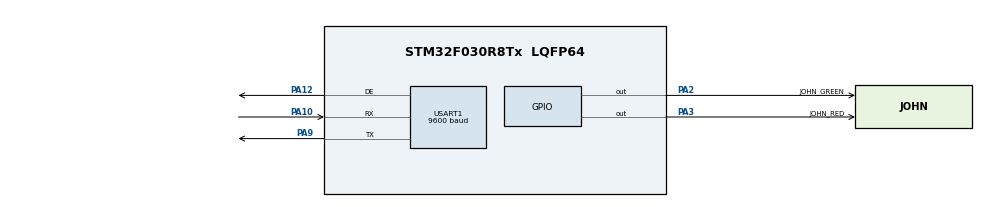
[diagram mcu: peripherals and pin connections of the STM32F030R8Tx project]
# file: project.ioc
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Dma.Request0=USART1_RX
Dma.USART1_RX.0.Direction=DMA_PERIPH_TO_MEMORY
Dma.USART1_RX.0.Instance=DMA1_Channel3
Dma.USART1_RX.0.MemDataAlignment=DMA_MDATAALIGN_BYTE
Dma.USART1_RX.0.MemInc=DMA_MINC_ENABLE
Dma.USART1_RX.0.Mode=DMA_NORMAL
Dma.USART1_RX.0.PeriphDataAlignment=DMA_PDATAALIGN_BYTE
Dma.USART1_RX.0.PeriphInc=DMA_PINC_DISABLE
Dma.USART1_RX.0.Priority=DMA_PRIORITY_LOW
Mcu.Family=STM32F0
Mcu.Name=STM32F030R8Tx
Mcu.Package=LQFP64
NVIC.DMA1_Channel2_3_IRQn=true\:0\:0\:false\:false\:true\:false
NVIC.USART1_IRQn=true\:0\:0\:false\:false\:true\:true
PA10.GPIO_PuPd=GPIO_PULLUP
PA10.Mode=Asynchronous
PA10.Signal=USART1_RX
PA12.Mode=Hardware Flow Control (RS485)
PA12.Signal=USART1_DE
PA13.Mode=Serial_Wire
PA13.Signal=SYS_SWDIO
PA14.Mode=Serial_Wire
PA14.Signal=SYS_SWCLK
PA2.GPIO_Label=JOHN_GREEN
PA2.Signal=GPIO_Output
PA3.GPIO_Label=JOHN_RED
PA3.Signal=GPIO_Output
PA9.GPIO_ModeDefaultPP=GPIO_MODE_AF_PP
PA9.GPIO_PuPd=GPIO_NOPULL
PA9.Mode=Asynchronous
PA9.Signal=USART1_TX
ProjectManager.HeapSize=0x200
ProjectManager.StackSize=0x400
ProjectManager.TargetToolchain=Makefile
USART1.BaudRate=9600
USART1.Parity=PARITY_EVEN
USART1.UART_DEAssertionTime=5
USART1.UART_DEDeassertionTime=5
USART1.VirtualMode-Asynchronous=VM_ASYNC
USART1.VirtualMode-Hardware\ Flow\ Control\ (RS485)=VM_ASYNC
USART1.WordLength=WORDLENGTH_9B
VP_CRC_VS_CRC.Mode=CRC_Activate
VP_RTC_VS_RTC_Activate.Mode=RTC_Enabled
board=custom

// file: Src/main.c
/* USER CODE BEGIN Header */
/**
  ******************************************************************************
  * @file           : main.c
  * @brief          : Main program body
  ******************************************************************************
  ** This notice applies to any and all portions of this file
  * that are not between comment pairs USER CODE BEGIN and
  * USER CODE END. Other portions of this file, whether
  * inserted by the user or by software development tools
  * are owned by their respective copyright owners.
  *
  * COPYRIGHT(c) 2019 STMicroelectronics
  *
  * Redistribution and use in source and binary forms, with or without modification,
  * are permitted provided that the following conditions are met:
  *   1. Redistributions of source code must retain the above copyright notice,
  *      this list of conditions and the following disclaimer.
  *   2. Redistributions in binary form must reproduce the above copyright notice,
  *      this list of conditions and the following disclaimer in the documentation
  *      and/or other materials provided with the distribution.
  *   3. Neither the name of STMicroelectronics nor the names of its contributors
  *      may be used to endorse or promote products derived from this software
  *      without specific prior written permission.
  *
  * THIS SOFTWARE IS PROVIDED BY THE COPYRIGHT HOLDERS AND CONTRIBUTORS "AS IS"
  * AND ANY EXPRESS OR IMPLIED WARRANTIES, INCLUDING, BUT NOT LIMITED TO, THE
  * IMPLIED WARRANTIES OF MERCHANTABILITY AND FITNESS FOR A PARTICULAR PURPOSE ARE
  * DISCLAIMED. IN NO EVENT SHALL THE COPYRIGHT HOLDER OR CONTRIBUTORS BE LIABLE
  * FOR ANY DIRECT, INDIRECT, INCIDENTAL, SPECIAL, EXEMPLARY, OR CONSEQUENTIAL
  * DAMAGES (INCLUDING, BUT NOT LIMITED TO, PROCUREMENT OF SUBSTITUTE GOODS OR
  * SERVICES; LOSS OF USE, DATA, OR PROFITS; OR BUSINESS INTERRUPTION) HOWEVER
  * CAUSED AND ON ANY THEORY OF LIABILITY, WHETHER IN CONTRACT, STRICT LIABILITY,
  * OR TORT (INCLUDING NEGLIGENCE OR OTHERWISE) ARISING IN ANY WAY OUT OF THE USE
  * OF THIS SOFTWARE, EVEN IF ADVISED OF THE POSSIBILITY OF SUCH DAMAGE.
  *
  ******************************************************************************
  */
/* USER CODE END Header */

#include "main.h"

/* USER CODE BEGIN Includes */
#include "printf.h"
#include <stdlib.h>

/* USER CODE END Includes */

CRC_HandleTypeDef hcrc;

RTC_HandleTypeDef hrtc;

UART_HandleTypeDef huart1;
DMA_HandleTypeDef hdma_usart1_rx;

/* USER CODE BEGIN PV */
uint8_t dma_rx_buffer[dma_rx_buffer_SIZE];
/* USER CODE END PV */

void SystemClock_Config(void);
static void MX_GPIO_Init(void);
static void MX_DMA_Init(void);
static void MX_CRC_Init(void);
static void MX_RTC_Init(void);
static void MX_USART1_UART_Init(void);

int main(void)
{

  /* MCU Configuration--------------------------------------------------------*/

  /* Reset of all peripherals, Initializes the Flash interface and the Systick. */
  HAL_Init();

  /* Configure the system clock */
  SystemClock_Config();

  /* Initialize all configured peripherals */
  MX_GPIO_Init();
  MX_DMA_Init();
  MX_CRC_Init();
  MX_RTC_Init();
  MX_USART1_UART_Init();
  /* USER CODE BEGIN 2 */
  HAL_Delay(500);
  //int status;
  HAL_GPIO_WritePin(GPIOA, JOHN_RED_Pin, 1);
  HAL_GPIO_WritePin(GPIOA, JOHN_GREEN_Pin, 1);
  //printf("RESET");
  // __HAL_UART_FLUSH_DRREGISTER(&huart1);
  __HAL_UART_ENABLE_IT(&huart1, UART_IT_RXNE);

  // These functions trigger continious calls to USART1_IRQHandler. Unsure why?
  // __HAL_UART_ENABLE_IT(&huart1, UART_IT_IDLE);
  // LL_USART_EnableIT_IDLE(huart1.Instance);

  HAL_UART_Receive_DMA(&huart1, dma_rx_buffer, SIZE(dma_rx_buffer));
  //HAL_Delay(1000);

  char szNumbers[] = "0x10\n0x1000 0x100";
  char * pEnd;
  long int li1, li2, li3, li4;
  li1 = strtol (szNumbers,&pEnd,16);
  pEnd++;
  li2 = strtol (pEnd,&pEnd,16);
  printf ("The decimal equivalents are: %ld, %ld.\n", li1, li2);

  printf ("ID: 0x%08X%08X%08X\n", HAL_GetUIDw0(), HAL_GetUIDw1(), HAL_GetUIDw2());

  /* USER CODE END 2 */

  /* Infinite loop */
  /* USER CODE BEGIN WHILE */
  while (1)
  {

	//HAL_UART_Receive(&huart1, dma_rx_buffer, 1, 1);
	// HAL_UART_DMAPause(&huart1);
	// //printf("RESET");
	// printf("Loop: ");
	// for( int i=0;i<5;i++) printf("%c", dma_rx_buffer[i]);
	// printf("\n");
	// HAL_UART_DMAResume(&huart1);
	HAL_Delay(500);
  HAL_GPIO_WritePin(GPIOA, JOHN_GREEN_Pin, 1);
  HAL_GPIO_WritePin(GPIOA, JOHN_RED_Pin, 1);

    /* USER CODE END WHILE */

  }
}

void SystemClock_Config(void)
{
  RCC_OscInitTypeDef RCC_OscInitStruct = {0};
  RCC_ClkInitTypeDef RCC_ClkInitStruct = {0};
  RCC_PeriphCLKInitTypeDef PeriphClkInit = {0};

  /**Initializes the CPU, AHB and APB busses clocks
  */
  RCC_OscInitStruct.OscillatorType = RCC_OSCILLATORTYPE_HSI|RCC_OSCILLATORTYPE_LSI;
  RCC_OscInitStruct.HSIState = RCC_HSI_ON;
  RCC_OscInitStruct.HSICalibrationValue = RCC_HSICALIBRATION_DEFAULT;
  RCC_OscInitStruct.LSIState = RCC_LSI_ON;
  RCC_OscInitStruct.PLL.PLLState = RCC_PLL_NONE;
  if (HAL_RCC_OscConfig(&RCC_OscInitStruct) != HAL_OK)
  {
    Error_Handler();
  }
  /**Initializes the CPU, AHB and APB busses clocks
  */
  RCC_ClkInitStruct.ClockType = RCC_CLOCKTYPE_HCLK|RCC_CLOCKTYPE_SYSCLK
                              |RCC_CLOCKTYPE_PCLK1;
  RCC_ClkInitStruct.SYSCLKSource = RCC_SYSCLKSOURCE_HSI;
  RCC_ClkInitStruct.AHBCLKDivider = RCC_SYSCLK_DIV1;
  RCC_ClkInitStruct.APB1CLKDivider = RCC_HCLK_DIV1;

  if (HAL_RCC_ClockConfig(&RCC_ClkInitStruct, FLASH_LATENCY_0) != HAL_OK)
  {
    Error_Handler();
  }
  PeriphClkInit.PeriphClockSelection = RCC_PERIPHCLK_USART1|RCC_PERIPHCLK_RTC;
  PeriphClkInit.Usart1ClockSelection = RCC_USART1CLKSOURCE_PCLK1;
  PeriphClkInit.RTCClockSelection = RCC_RTCCLKSOURCE_LSI;
  if (HAL_RCCEx_PeriphCLKConfig(&PeriphClkInit) != HAL_OK)
  {
    Error_Handler();
  }
}

static void MX_CRC_Init(void)
{

  hcrc.Instance = CRC;
  hcrc.Init.DefaultPolynomialUse = DEFAULT_POLYNOMIAL_ENABLE;
  hcrc.Init.DefaultInitValueUse = DEFAULT_INIT_VALUE_ENABLE;
  hcrc.Init.InputDataInversionMode = CRC_INPUTDATA_INVERSION_NONE;
  hcrc.Init.OutputDataInversionMode = CRC_OUTPUTDATA_INVERSION_DISABLE;
  hcrc.InputDataFormat = CRC_INPUTDATA_FORMAT_BYTES;
  if (HAL_CRC_Init(&hcrc) != HAL_OK)
  {
    Error_Handler();
  }
  if (HAL_CRCEx_Init(&hcrc) != HAL_OK)
  {
    Error_Handler();
  }

}

static void MX_RTC_Init(void)
{

  /**Initialize RTC Only
  */
  hrtc.Instance = RTC;
  hrtc.Init.HourFormat = RTC_HOURFORMAT_24;
  hrtc.Init.AsynchPrediv = 127;
  hrtc.Init.SynchPrediv = 255;
  hrtc.Init.OutPut = RTC_OUTPUT_DISABLE;
  hrtc.Init.OutPutPolarity = RTC_OUTPUT_POLARITY_HIGH;
  hrtc.Init.OutPutType = RTC_OUTPUT_TYPE_OPENDRAIN;
  if (HAL_RTC_Init(&hrtc) != HAL_OK)
  {
    Error_Handler();
  }

}

static void MX_USART1_UART_Init(void)
{

  huart1.Instance = USART1;
  huart1.Init.BaudRate = 9600;
  huart1.Init.WordLength = UART_WORDLENGTH_9B;
  huart1.Init.StopBits = UART_STOPBITS_1;
  huart1.Init.Parity = UART_PARITY_EVEN;
  huart1.Init.Mode = UART_MODE_TX_RX;
  huart1.Init.HwFlowCtl = UART_HWCONTROL_NONE;
  huart1.Init.OverSampling = UART_OVERSAMPLING_16;
  huart1.Init.OneBitSampling = UART_ONE_BIT_SAMPLE_DISABLE;
  huart1.AdvancedInit.AdvFeatureInit = UART_ADVFEATURE_NO_INIT;
  if (HAL_RS485Ex_Init(&huart1, UART_DE_POLARITY_HIGH, 5, 5) != HAL_OK)
  {
    Error_Handler();
  }

}

static void MX_DMA_Init(void)
{
  /* DMA controller clock enable */
  __HAL_RCC_DMA1_CLK_ENABLE();

  /* DMA interrupt init */
  /* DMA1_Channel2_3_IRQn interrupt configuration */
  HAL_NVIC_SetPriority(DMA1_Channel2_3_IRQn, 0, 0);
  HAL_NVIC_EnableIRQ(DMA1_Channel2_3_IRQn);

}

static void MX_GPIO_Init(void)
{
  GPIO_InitTypeDef GPIO_InitStruct = {0};

  /* GPIO Ports Clock Enable */
  __HAL_RCC_GPIOA_CLK_ENABLE();

  /*Configure GPIO pin Output Level */
  HAL_GPIO_WritePin(GPIOA, JOHN_GREEN_Pin|JOHN_RED_Pin, GPIO_PIN_RESET);

  /*Configure GPIO pins : JOHN_GREEN_Pin JOHN_RED_Pin */
  GPIO_InitStruct.Pin = JOHN_GREEN_Pin|JOHN_RED_Pin;
  GPIO_InitStruct.Mode = GPIO_MODE_OUTPUT_PP;
  GPIO_InitStruct.Pull = GPIO_NOPULL;
  GPIO_InitStruct.Speed = GPIO_SPEED_FREQ_LOW;
  HAL_GPIO_Init(GPIOA, &GPIO_InitStruct);

}

/* USER CODE BEGIN 4 */
void _putchar(char character){
	HAL_UART_Transmit(&huart1, (uint8_t *)&character, 1, 0xFFFF);
}

void HAL_UART_RxCpltCallback(UART_HandleTypeDef *huart){
  // printf("CPL full\n");
  // HAL_GPIO_WritePin(GPIOA, JOHN_RED_Pin, 0);
  //HAL_Delay(200);
  //__HAL_UART_FLUSH_DRREGISTER(&huart1);
  //__HAL_UART_ENABLE_IT(&huart1, UART_IT_RXNE);
  //HAL_UART_Receive_DMA(&huart1, dma_rx_buffer, SIZE(dma_rx_buffer));
}

void HAL_UART_RxHalfCpltCallback (UART_HandleTypeDef *huart){
  // printf("CPL half\n");
  // HAL_GPIO_WritePin(GPIOA, JOHN_GREEN_Pin, 0);
}

void HAL_UART_ErrorCallback(UART_HandleTypeDef *huart){

  // printf("\n\n[ERROR] HAL_UART_ErrorCallback\n");
  // printf("Error Code1: %x\n", huart->RxState);
  // printf("Error Code2: %x\n", huart->gState);
  // printf("Buffer RX Count: %x\n", huart->RxXferCount);
  // printf("DMA ErrorCode: %x\n", hdma_usart1_rx.ErrorCode);
  // printf("DMA State: %x\n", hdma_usart1_rx.State);

  // __HAL_UART_FLUSH_DRREGISTER(&huart1);
  __HAL_UART_ENABLE_IT(&huart1, UART_IT_RXNE);
  HAL_UART_Receive_DMA(&huart1, dma_rx_buffer, SIZE(dma_rx_buffer));
  HAL_GPIO_WritePin(GPIOA, JOHN_RED_Pin, 0);
  //HardFault_Handler(); // Error forever right now. Just for debug!
}

/* USER CODE END 4 */

void Error_Handler(void)
{
  /* USER CODE BEGIN Error_Handler_Debug */
  /* User can add his own implementation to report the HAL error return state */
  printf("ERROR!!!");
  /* USER CODE END Error_Handler_Debug */
}

/************************ (C) COPYRIGHT STMicroelectronics *****END OF FILE****/
